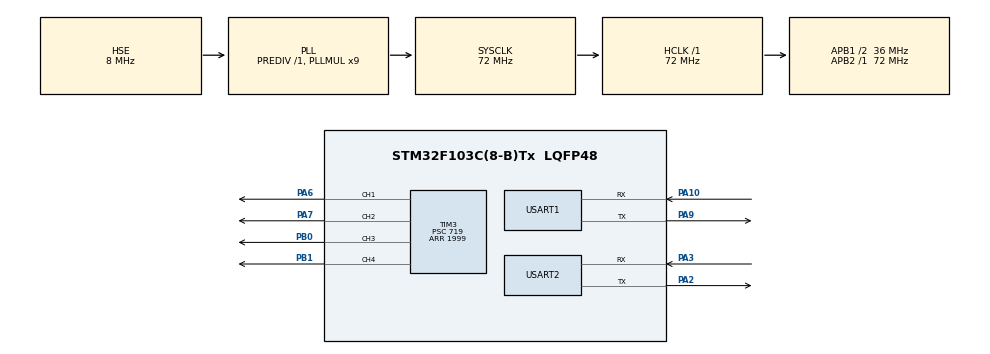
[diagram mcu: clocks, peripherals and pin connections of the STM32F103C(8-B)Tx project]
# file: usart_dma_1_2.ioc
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Dma.Request0=USART2_RX
Dma.USART2_RX.0.Direction=DMA_PERIPH_TO_MEMORY
Dma.USART2_RX.0.Instance=DMA1_Channel6
Dma.USART2_RX.0.MemDataAlignment=DMA_MDATAALIGN_BYTE
Dma.USART2_RX.0.MemInc=DMA_MINC_ENABLE
Dma.USART2_RX.0.Mode=DMA_NORMAL
Dma.USART2_RX.0.PeriphDataAlignment=DMA_PDATAALIGN_BYTE
Dma.USART2_RX.0.PeriphInc=DMA_PINC_DISABLE
Dma.USART2_RX.0.Priority=DMA_PRIORITY_LOW
Mcu.Family=STM32F1
Mcu.Name=STM32F103C(8-B)Tx
Mcu.Package=LQFP48
NVIC.DMA1_Channel6_IRQn=true\:0\:0\:false\:true\:true\:3\:false
NVIC.PriorityGroup=NVIC_PRIORITYGROUP_4
NVIC.TIM1_UP_IRQn=true\:0\:0\:false\:false\:true\:true
NVIC.USART1_IRQn=true\:0\:0\:false\:true\:true\:1\:true
NVIC.USART2_IRQn=true\:0\:0\:false\:true\:true\:2\:true
PA10.Mode=Asynchronous
PA10.Signal=USART1_RX
PA13.Mode=Serial_Wire
PA13.Signal=SYS_JTMS-SWDIO
PA14.Mode=Serial_Wire
PA14.Signal=SYS_JTCK-SWCLK
PA2.Mode=Asynchronous
PA2.Signal=USART2_TX
PA3.Mode=Asynchronous
PA3.Signal=USART2_RX
PA6.Signal=S_TIM3_CH1
PA7.Signal=S_TIM3_CH2
PA9.Mode=Asynchronous
PA9.Signal=USART1_TX
PB0.Signal=S_TIM3_CH3
PB1.Signal=S_TIM3_CH4
PD0-OSC_IN.Mode=HSE-External-Oscillator
PD0-OSC_IN.Signal=RCC_OSC_IN
PD1-OSC_OUT.Mode=HSE-External-Oscillator
PD1-OSC_OUT.Signal=RCC_OSC_OUT
ProjectManager.HeapSize=0x200
ProjectManager.StackSize=0x400
ProjectManager.TargetToolchain=MDK-ARM V5
RCC.AHBFreq_Value=72000000
RCC.APB1CLKDivider=RCC_HCLK_DIV2
RCC.APB1Freq_Value=36000000
RCC.APB1TimFreq_Value=72000000
RCC.APB2Freq_Value=72000000
RCC.APB2TimFreq_Value=72000000
RCC.HCLKFreq_Value=72000000
RCC.PLLMUL=RCC_PLL_MUL9
RCC.PLLSourceVirtual=RCC_PLLSOURCE_HSE
RCC.SYSCLKFreq_VALUE=72000000
RCC.SYSCLKSource=RCC_SYSCLKSOURCE_PLLCLK
RCC.USBFreq_Value=72000000
SH.S_TIM3_CH1.0=TIM3_CH1,PWM Generation1 CH1
SH.S_TIM3_CH2.0=TIM3_CH2,PWM Generation2 CH2
SH.S_TIM3_CH3.0=TIM3_CH3,PWM Generation3 CH3
SH.S_TIM3_CH4.0=TIM3_CH4,PWM Generation4 CH4
TIM1.Period=1000-1
TIM1.Prescaler=36000-1
TIM3.Channel-PWM\ Generation1\ CH1=TIM_CHANNEL_1
TIM3.Channel-PWM\ Generation2\ CH2=TIM_CHANNEL_2
TIM3.Channel-PWM\ Generation3\ CH3=TIM_CHANNEL_3
TIM3.Channel-PWM\ Generation4\ CH4=TIM_CHANNEL_4
TIM3.Period=1999
TIM3.Prescaler=719
TIM3.Pulse-PWM\ Generation1\ CH1=150
TIM3.Pulse-PWM\ Generation2\ CH2=150
TIM3.Pulse-PWM\ Generation3\ CH3=150
TIM3.Pulse-PWM\ Generation4\ CH4=150
USART1.VirtualMode=VM_ASYNC
USART2.VirtualMode=VM_ASYNC
VP_TIM1_VS_ClockSourceINT.Mode=Internal
board=custom

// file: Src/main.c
/**
  ******************************************************************************
  * @file           : main.c
  * @brief          : Main program body
  ******************************************************************************
  ** This notice applies to any and all portions of this file
  * that are not between comment pairs USER CODE BEGIN and
  * USER CODE END. Other portions of this file, whether
  * inserted by the user or by software development tools
  * are owned by their respective copyright owners.
  *
  * COPYRIGHT(c) 2018 STMicroelectronics
  *
  * Redistribution and use in source and binary forms, with or without modification,
  * are permitted provided that the following conditions are met:
  *   1. Redistributions of source code must retain the above copyright notice,
  *      this list of conditions and the following disclaimer.
  *   2. Redistributions in binary form must reproduce the above copyright notice,
  *      this list of conditions and the following disclaimer in the documentation
  *      and/or other materials provided with the distribution.
  *   3. Neither the name of STMicroelectronics nor the names of its contributors
  *      may be used to endorse or promote products derived from this software
  *      without specific prior written permission.
  *
  * THIS SOFTWARE IS PROVIDED BY THE COPYRIGHT HOLDERS AND CONTRIBUTORS "AS IS"
  * AND ANY EXPRESS OR IMPLIED WARRANTIES, INCLUDING, BUT NOT LIMITED TO, THE
  * IMPLIED WARRANTIES OF MERCHANTABILITY AND FITNESS FOR A PARTICULAR PURPOSE ARE
  * DISCLAIMED. IN NO EVENT SHALL THE COPYRIGHT HOLDER OR CONTRIBUTORS BE LIABLE
  * FOR ANY DIRECT, INDIRECT, INCIDENTAL, SPECIAL, EXEMPLARY, OR CONSEQUENTIAL
  * DAMAGES (INCLUDING, BUT NOT LIMITED TO, PROCUREMENT OF SUBSTITUTE GOODS OR
  * SERVICES; LOSS OF USE, DATA, OR PROFITS; OR BUSINESS INTERRUPTION) HOWEVER
  * CAUSED AND ON ANY THEORY OF LIABILITY, WHETHER IN CONTRACT, STRICT LIABILITY,
  * OR TORT (INCLUDING NEGLIGENCE OR OTHERWISE) ARISING IN ANY WAY OUT OF THE USE
  * OF THIS SOFTWARE, EVEN IF ADVISED OF THE POSSIBILITY OF SUCH DAMAGE.
  *
  ******************************************************************************
  */
#include "main.h"
#include "stm32f1xx_hal.h"

TIM_HandleTypeDef htim1;
TIM_HandleTypeDef htim3;

UART_HandleTypeDef huart1;
UART_HandleTypeDef huart2;
DMA_HandleTypeDef hdma_usart2_rx;

/* USER CODE BEGIN PV */
/* Private variables ---------------------------------------------------------*/

#define BUFFERSIZE_left 20
uint8_t ReceiveBuff_left[BUFFERSIZE_left];						//接收缓冲区
uint8_t recv_end_flag_left = 0,Rx_len_left=0;

union position1
{
  float position1_float;
  unsigned char position1_char[4];
}x1_data,y1_data,z1_data,theta1_data,phi1_data,gamma1_data;

uint8_t aTxStartMessages[] ="?s\r\n";
int car_speed=145;//150--stop

void uartdamget_left(void);

/* USER CODE END PV */

void SystemClock_Config(void);
static void MX_GPIO_Init(void);
static void MX_DMA_Init(void);
static void MX_USART1_UART_Init(void);
static void MX_USART2_UART_Init(void);
static void MX_TIM1_Init(void);
static void MX_TIM3_Init(void);
static void MX_NVIC_Init(void);

void HAL_TIM_MspPostInit(TIM_HandleTypeDef *htim);

/* USER CODE BEGIN PFP */
/* Private function prototypes -----------------------------------------------*/

#ifdef __GNUC__
#define PUTCHAR_PROTOTYPE int __io_putchar(int ch)
#else
#define PUTCHAR_PROTOTYPE int fputc(int ch, FILE *f)
#endif
PUTCHAR_PROTOTYPE
{
	HAL_UART_Transmit(&huart1 , (uint8_t *)&ch, 1, 0xFFFF);
return ch;
}

/* USER CODE END PFP */

int main(void)
{

  /* MCU Configuration----------------------------------------------------------*/

  /* Reset of all peripherals, Initializes the Flash interface and the Systick. */
  HAL_Init();

  /* Configure the system clock */
  SystemClock_Config();

  /* Initialize all configured peripherals */
  MX_GPIO_Init();
  MX_DMA_Init();
  MX_USART1_UART_Init();
  MX_USART2_UART_Init();
  MX_TIM1_Init();
  MX_TIM3_Init();

  /* Initialize interrupts */
  MX_NVIC_Init();
  /* USER CODE BEGIN 2 */
	//printf("This is a USART DMA Receive Test!!!\r\n");
	/*	使能串口1 IDLE中断	*/

	__HAL_UART_ENABLE_IT(&huart2, UART_IT_IDLE);  //dma,空闲中断

   HAL_TIM_Base_Start_IT(&htim1);//定时发送

  /* USER CODE END 2 */

  /* Infinite loop */
  /* USER CODE BEGIN WHILE */
  while (1)
  {
 //  uartdamget();
	 uartdamget_left();

  /* USER CODE END WHILE */

  }

}

void SystemClock_Config(void)
{

  RCC_OscInitTypeDef RCC_OscInitStruct;
  RCC_ClkInitTypeDef RCC_ClkInitStruct;

    /**Initializes the CPU, AHB and APB busses clocks
    */
  RCC_OscInitStruct.OscillatorType = RCC_OSCILLATORTYPE_HSE;
  RCC_OscInitStruct.HSEState = RCC_HSE_ON;
  RCC_OscInitStruct.HSEPredivValue = RCC_HSE_PREDIV_DIV1;
  RCC_OscInitStruct.HSIState = RCC_HSI_ON;
  RCC_OscInitStruct.PLL.PLLState = RCC_PLL_ON;
  RCC_OscInitStruct.PLL.PLLSource = RCC_PLLSOURCE_HSE;
  RCC_OscInitStruct.PLL.PLLMUL = RCC_PLL_MUL9;
  if (HAL_RCC_OscConfig(&RCC_OscInitStruct) != HAL_OK)
  {
    _Error_Handler(__FILE__, __LINE__);
  }

    /**Initializes the CPU, AHB and APB busses clocks
    */
  RCC_ClkInitStruct.ClockType = RCC_CLOCKTYPE_HCLK|RCC_CLOCKTYPE_SYSCLK
                              |RCC_CLOCKTYPE_PCLK1|RCC_CLOCKTYPE_PCLK2;
  RCC_ClkInitStruct.SYSCLKSource = RCC_SYSCLKSOURCE_PLLCLK;
  RCC_ClkInitStruct.AHBCLKDivider = RCC_SYSCLK_DIV1;
  RCC_ClkInitStruct.APB1CLKDivider = RCC_HCLK_DIV2;
  RCC_ClkInitStruct.APB2CLKDivider = RCC_HCLK_DIV1;

  if (HAL_RCC_ClockConfig(&RCC_ClkInitStruct, FLASH_LATENCY_2) != HAL_OK)
  {
    _Error_Handler(__FILE__, __LINE__);
  }

    /**Configure the Systick interrupt time
    */
  HAL_SYSTICK_Config(HAL_RCC_GetHCLKFreq()/1000);

    /**Configure the Systick
    */
  HAL_SYSTICK_CLKSourceConfig(SYSTICK_CLKSOURCE_HCLK);

  /* SysTick_IRQn interrupt configuration */
  HAL_NVIC_SetPriority(SysTick_IRQn, 0, 0);
}

/**
  * @brief NVIC Configuration.
  * @retval None
  */
static void MX_NVIC_Init(void)
{
  /* USART1_IRQn interrupt configuration */
  HAL_NVIC_SetPriority(USART1_IRQn, 0, 0);
  HAL_NVIC_EnableIRQ(USART1_IRQn);
  /* USART2_IRQn interrupt configuration */
  HAL_NVIC_SetPriority(USART2_IRQn, 0, 0);
  HAL_NVIC_EnableIRQ(USART2_IRQn);
  /* DMA1_Channel6_IRQn interrupt configuration */
  HAL_NVIC_SetPriority(DMA1_Channel6_IRQn, 0, 0);
  HAL_NVIC_EnableIRQ(DMA1_Channel6_IRQn);
}

/* TIM1 init function */
static void MX_TIM1_Init(void)
{

  TIM_ClockConfigTypeDef sClockSourceConfig;
  TIM_MasterConfigTypeDef sMasterConfig;

  htim1.Instance = TIM1;
  htim1.Init.Prescaler = 36000-1;
  htim1.Init.CounterMode = TIM_COUNTERMODE_UP;
  htim1.Init.Period = 1000-1;
  htim1.Init.ClockDivision = TIM_CLOCKDIVISION_DIV1;
  htim1.Init.RepetitionCounter = 0;
  htim1.Init.AutoReloadPreload = TIM_AUTORELOAD_PRELOAD_DISABLE;
  if (HAL_TIM_Base_Init(&htim1) != HAL_OK)
  {
    _Error_Handler(__FILE__, __LINE__);
  }

  sClockSourceConfig.ClockSource = TIM_CLOCKSOURCE_INTERNAL;
  if (HAL_TIM_ConfigClockSource(&htim1, &sClockSourceConfig) != HAL_OK)
  {
    _Error_Handler(__FILE__, __LINE__);
  }

  sMasterConfig.MasterOutputTrigger = TIM_TRGO_RESET;
  sMasterConfig.MasterSlaveMode = TIM_MASTERSLAVEMODE_DISABLE;
  if (HAL_TIMEx_MasterConfigSynchronization(&htim1, &sMasterConfig) != HAL_OK)
  {
    _Error_Handler(__FILE__, __LINE__);
  }

}

/* TIM3 init function */
static void MX_TIM3_Init(void)
{

  TIM_MasterConfigTypeDef sMasterConfig;
  TIM_OC_InitTypeDef sConfigOC;

  htim3.Instance = TIM3;
  htim3.Init.Prescaler = 719;
  htim3.Init.CounterMode = TIM_COUNTERMODE_UP;
  htim3.Init.Period = 1999;
  htim3.Init.ClockDivision = TIM_CLOCKDIVISION_DIV1;
  htim3.Init.AutoReloadPreload = TIM_AUTORELOAD_PRELOAD_DISABLE;
  if (HAL_TIM_PWM_Init(&htim3) != HAL_OK)
  {
    _Error_Handler(__FILE__, __LINE__);
  }

  sMasterConfig.MasterOutputTrigger = TIM_TRGO_RESET;
  sMasterConfig.MasterSlaveMode = TIM_MASTERSLAVEMODE_DISABLE;
  if (HAL_TIMEx_MasterConfigSynchronization(&htim3, &sMasterConfig) != HAL_OK)
  {
    _Error_Handler(__FILE__, __LINE__);
  }

  sConfigOC.OCMode = TIM_OCMODE_PWM1;
  sConfigOC.Pulse = 150;
  sConfigOC.OCPolarity = TIM_OCPOLARITY_HIGH;
  sConfigOC.OCFastMode = TIM_OCFAST_DISABLE;
  if (HAL_TIM_PWM_ConfigChannel(&htim3, &sConfigOC, TIM_CHANNEL_1) != HAL_OK)
  {
    _Error_Handler(__FILE__, __LINE__);
  }

  if (HAL_TIM_PWM_ConfigChannel(&htim3, &sConfigOC, TIM_CHANNEL_2) != HAL_OK)
  {
    _Error_Handler(__FILE__, __LINE__);
  }

  if (HAL_TIM_PWM_ConfigChannel(&htim3, &sConfigOC, TIM_CHANNEL_3) != HAL_OK)
  {
    _Error_Handler(__FILE__, __LINE__);
  }

  if (HAL_TIM_PWM_ConfigChannel(&htim3, &sConfigOC, TIM_CHANNEL_4) != HAL_OK)
  {
    _Error_Handler(__FILE__, __LINE__);
  }

  HAL_TIM_MspPostInit(&htim3);

}

/* USART1 init function */
static void MX_USART1_UART_Init(void)
{

  huart1.Instance = USART1;
  huart1.Init.BaudRate = 115200;
  huart1.Init.WordLength = UART_WORDLENGTH_8B;
  huart1.Init.StopBits = UART_STOPBITS_1;
  huart1.Init.Parity = UART_PARITY_NONE;
  huart1.Init.Mode = UART_MODE_TX_RX;
  huart1.Init.HwFlowCtl = UART_HWCONTROL_NONE;
  huart1.Init.OverSampling = UART_OVERSAMPLING_16;
  if (HAL_UART_Init(&huart1) != HAL_OK)
  {
    _Error_Handler(__FILE__, __LINE__);
  }

}

/* USART2 init function */
static void MX_USART2_UART_Init(void)
{

  huart2.Instance = USART2;
  huart2.Init.BaudRate = 115200;
  huart2.Init.WordLength = UART_WORDLENGTH_8B;
  huart2.Init.StopBits = UART_STOPBITS_1;
  huart2.Init.Parity = UART_PARITY_NONE;
  huart2.Init.Mode = UART_MODE_TX_RX;
  huart2.Init.HwFlowCtl = UART_HWCONTROL_NONE;
  huart2.Init.OverSampling = UART_OVERSAMPLING_16;
  if (HAL_UART_Init(&huart2) != HAL_OK)
  {
    _Error_Handler(__FILE__, __LINE__);
  }

}

static void MX_DMA_Init(void)
{
  /* DMA controller clock enable */
  __HAL_RCC_DMA1_CLK_ENABLE();

}

/** Configure pins as
        * Analog
        * Input
        * Output
        * EVENT_OUT
        * EXTI
*/
static void MX_GPIO_Init(void)
{
  GPIO_InitTypeDef GPIO_InitStruct;

  /* GPIO Ports Clock Enable */
  __HAL_RCC_GPIOD_CLK_ENABLE();
  __HAL_RCC_GPIOA_CLK_ENABLE();
  __HAL_RCC_GPIOB_CLK_ENABLE();

//	 HAL_GPIO_WritePin(GPIOB, right1_Pin|right2_Pin|left1_Pin|left2_Pin, GPIO_PIN_RESET);

   /*Configure GPIO pin Output Level */
//  HAL_GPIO_WritePin(led_GPIO_Port, led_Pin, GPIO_PIN_RESET);

  /*Configure GPIO pins : right1_Pin right2_Pin left1_Pin left2_Pin */
 // GPIO_InitStruct.Pin = right1_Pin|right2_Pin|left1_Pin|left2_Pin;
  GPIO_InitStruct.Mode = GPIO_MODE_OUTPUT_PP;
  GPIO_InitStruct.Pull = GPIO_NOPULL;
  GPIO_InitStruct.Speed = GPIO_SPEED_FREQ_LOW;
  HAL_GPIO_Init(GPIOB, &GPIO_InitStruct);

  /*Configure GPIO pin : led_Pin */
 // GPIO_InitStruct.Pin = led_Pin;
  GPIO_InitStruct.Mode = GPIO_MODE_OUTPUT_PP;
  GPIO_InitStruct.Pull = GPIO_NOPULL;
  GPIO_InitStruct.Speed = GPIO_SPEED_FREQ_LOW;
 // HAL_GPIO_Init(led_GPIO_Port, &GPIO_InitStruct);
}

/* USER CODE BEGIN 4 */

void uartdamget_left(void)
{

	if(recv_end_flag_left ==1)
	{

		for(int i=0;i<Rx_len_left;i++)
		{
			/*	打印接收到的数据 */
				printf("%c",ReceiveBuff_left[i]);
		}
		for(int i = 0; i < Rx_len_left ; i++)
			x1_data.position1_char[i]=ReceiveBuff_left[i];//将接受到的值赋给X1

		/*	清空接收缓存区	*/
		for(int i = 0; i < Rx_len_left ; i++)
			ReceiveBuff_left[i]=0;
		/*	接收数据长度清零	*/
		Rx_len_left=0;
		recv_end_flag_left=0;
	}
	/*	开启下一次接收	*/
	HAL_UART_Receive_DMA(&huart2,(uint8_t*)ReceiveBuff_left,BUFFERSIZE_left);
}

void HAL_TIM_PeriodElapsedCallback(TIM_HandleTypeDef *htim)

{

    if (htim->Instance == htim1.Instance)//请求编码器数据
    {
			HAL_UART_Transmit_IT(&huart2 ,(uint8_t*)aTxStartMessages,sizeof(aTxStartMessages));
    }

}

/* USER CODE END 4 */

void _Error_Handler(char *file, int line)
{
  while(1)
  {
  }
}

/************************ (C) COPYRIGHT STMicroelectronics *****END OF FILE****/
